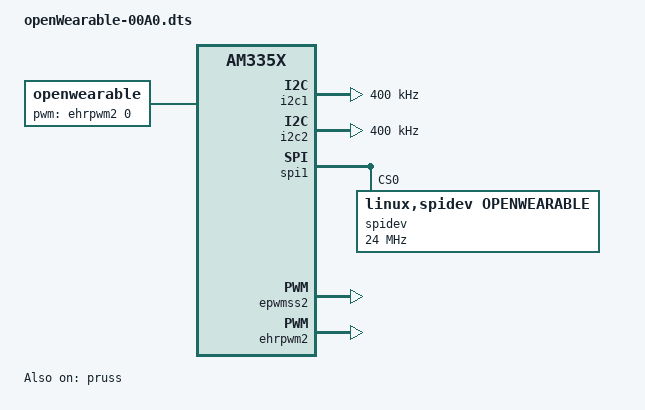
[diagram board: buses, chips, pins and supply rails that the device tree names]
/dts-v1/;
/plugin/;

/ {
  compatible = "ti,beaglebone", "ti,beaglebone-black","ti,am335x-bone-black-wireless";

  /* identification */
  part-number = "OPENWEARABLE";
  version = "00A0";

  /* state the resources this cape uses */
  exclusive-use =

    /**** pru1 GPIO pins ****/
    "P8.27",  /* pr1_pru1_pru_[r30_8 | r31_8] ---- DEBUG OUT */
    "P8.28",  /* pr1_pru1_pru_[r30_10 | r31_10] */
    "P8.29",  /* pr1_pru1_pru_[r30_9 | r31_9] */
    "P8.30",  /* pr1_pru1_pru_[r30_11 | r31_11] */
    "P8.39",  /* pr1_pru1_pru_[r30_6 | r31_6] ---- b1 */
    "P8.40",  /* pr1_pru1_pru_[r30_7 | r31_7] ---- b2 */
    "P8.41",  /* pr1_pru1_pru_[r30_4 | r31_4] */
    "P8.42",  /* pr1_pru1_pru_[r30_5 | r31_5] */
    "P8.43",  /* pr1_pru1_pru_[r30_2 | r31_2] ---- pam */
    "P8.44",  /* pr1_pru1_pru_[r30_3 | r31_3] ---- pam */
    "P8.45",  /* pr1_pru1_pru_[r30_0 | r31_0] ---- pam */
    "P8.46",  /* pr1_pru1_pru_[r30_1 | r31_1] ---- pam */

    /**** pru0 GPIO pins ****/
    "P9.27",  /* pr1_pru0_pru_[r30_5 | r31_5] ---- DEBUG OUT */

    /**** CPU GPIO pins ****/
    "P9.13", /* gpio0[31] ---- DEBUG OUT */

    /**** I2C1 pins ****/
    "P9.17",  /* I2C1_SCL */
    "P9.18",  /* I2C1_SDA */

    /**** I2C2 pins ****/
    "P9.21",  /* I2C2_SCL */
    "P9.22",  /* I2C2_SDA */

    /**** SPI1 pins ****/
    "P9.28",  /* SPI1_CS0 */
    "P9.42",  /* SPI1_CS1 */
    //"P9.19", /* SPI1_CS1 */
    //"P9.20", /* SPI1_CS0 */
    "P9.29",  /* SPI1_D0 */
    "P9.30",  /* SPI1_D1 */
    "P9.31",  /* SPI1_SCLK */

    /**** PWM pins ****/
    "P8.19",  /* ehrpwm2A */

    /* the hardware IP uses */
    "ehrpwm2A",
    "i2c1",
    "i2c2",
    "spi1",
    "pruss";

    /*----- pin mux cheat sheet -----*/
    /* Bit 6 - SLEWCTRL - 0 (fast) | 1 (slow)
     * Bit 5 - RXACTIVE - 0 (reciever disable) | 1 (reciever enable)
     * Bit 4 - PULLTYPESEL - 0 (pulldown) | 1 (pullup)
     * Bit 3 - PULLUDEN - 0 (enable) | 1 (disable)
     * Bit 2-0 - MUXMODE
     */

  /*----- pin mux -----*/
  fragment@0 {
    target = <&am33xx_pinmux>;
    __overlay__ {

      pruss_pins: pinmux_pruss_pins {
        pinctrl-single,pins = <
          0x0E0 0x05  /* P8.27 - pr1_pru1_pru_r30_8,  MODE5 | OUTPUT | PD */
          0x0E8 0x05  /* P8.28 - pr1_pru1_pru_r30_10, MODE5 | OUTPUT | PD */
          0x0E4 0x05  /* P8.29 - pr1_pru1_pru_r30_9,  MODE5 | OUTPUT | PD */
          0x0EC 0x05  /* P8.30 - pr1_pru1_pru_r30_11, MODE5 | OUTPUT | PD */
          /* 0x0B8 0x05  P8.39 - pr1_pru1_pru_r30_6,  MODE5 | OUTPUT | PD */
          0x0B8 0x26  /* P8.39 - pr1_pru1_pru_r31_6,  MODE6 | INPUT | PD */
          /* 0x0BC 0x05  P8.40 - pr1_pru1_pru_r30_7,  MODE5 | OUTPUT | PD */
          0x0BC 0x26  /* P8.40 - pr1_pru1_pru_r31_7,  MODE6 | INPUT | PD */
          0x0B0 0x05  /* P8.41 - pr1_pru1_pru_r30_4,  MODE5 | OUTPUT | PD */
          0x0B4 0x05  /* P8.42 - pr1_pru1_pru_r30_5,  MODE5 | OUTPUT | PD */
          0x0A8 0x05  /* P8.43 - pr1_pru1_pru_r30_2,  MODE5 | OUTPUT | PD */
          0x0AC 0x05  /* P8.44 - pr1_pru1_pru_r30_3,  MODE5 | OUTPUT | PD */
          0x0A0 0x05  /* P8.45 - pr1_pru1_pru_r30_0,  MODE5 | OUTPUT | PD */
          0x0A4 0x05  /* P8.46 - pr1_pru1_pru_r30_1,  MODE5 | OUTPUT | PD */
          0x1A4 0x05  /* P9.27 - pr1_pru0_pru_r30_5,  MODE5 | OUTPUT | PD */
          0x074 0x07  /* P9.13 - gpio0[31],           MODE7 | OUTPUT | PD */
        >;
      };

      spi_pins: pinmux_spi_pins {
        pinctrl-single,pins = <
          0x19C 0x13  /* P9.28 - spi1_cs0,  MODE3 | OUTPUT_PULLUP */
          0x164 0x12  /* P9.42 - spi1_cs1, MODE2 | OUTPUT_PULLUP */
          0x1A0 0x06  /* P9.42 alternate mux -- set as input */
          0x194 0x33  /* P9.29 - spi1_d0, MODE3 | INPUT_PULLUP */
          0x198 0x13  /* P9.30 - spi1_d1, MODE3 | OUTPUT_PULLUP */
          0x190 0x33  /* P9.31 - spi1_sclk, MODE3 | INPUT_PULLUP */
        >;
      };

      i2c1_pins: pinmux_i2c1_pins{
        pinctrl-single,pins = <
          0x15C 0x72  /* P9.17 - i2c1_scl, MODE2 | INPUT_PULLUP (bi-dir)*/
          0x158 0x72  /* P9.18 - i2c1_sda, MODE2 | INPUT_PULLUP (bi-dir)*/
        >;
      };

      i2c2_pins: pinmux_i2c2_pins{
        pinctrl-single,pins = <
          0x154 0x72  /* P9.21 - i2c1_scl, MODE2 | INPUT_PULLUP (bi-dir)*/
          0x150 0x72  /* P9.22 - i2c1_sda, MODE2 | INPUT_PULLUP (bi-dir)*/
        >;
      };
      pwm_pins: pinmux_pwm_pins {
        pinctrl-single,pins = <
          0x020 0x0C  /* P8.19 - ehrpwm2A, MODE4 */
        >;
      };
    };
  };

  /*----- pru enable -----*/
  fragment@1 {
    target = <&pruss>;
    __overlay__ {
      status = "okay";
      pinctrl-names = "default";
      pinctrl-0 = <&pruss_pins>;
    };
  };

  /*----- I2C1 ------*/
  fragment@2 {
    target = <&i2c1>;
    __overlay__ {
      #address-cells = <1>;
      #size-cells = <1>;
      status = "okay";
      pinctrl-names = "default";
      pinctrl-0 = <&i2c1_pins>;
      clock-frequency = <400000>;
    };
 };

  /*----- I2C2 ------*/
  fragment@3 {
    target = <&i2c2>;
    __overlay__ {
      #address-cells = <1>;
      #size-cells = <1>;
      status = "okay";
      pinctrl-names = "default";
      pinctrl-0 = <&i2c2_pins>;
      clock-frequency = <400000>;
    };
 };

  /*------ SPI settings -----*/
  fragment@4 {
    target = <&spi1>;
    __overlay__ {
      #address-cells = <1>;
      #size-cells = <0>;
      status = "okay";
      pinctrl-names = "default";
      pinctrl-0 = <&spi_pins>;
      spidev@1 {
        spi-max-frequency = <24000000>;
        reg = <0>;
        compatible = "linux,spidev,openWearable";
      };
    };
  };

  /*------ PWM enable ------*/
  fragment@5 {
    target = <&epwmss2>;
    __overlay__ {
      status = "okay";
    };
  };
  fragment@6 {
    target = <&ehrpwm2>;
    __overlay__ {
      status = "okay";
      pinctrl-names = "default";
      pinctrl-0 = <&pwm_pins>;
    };
  };
  fragment@7 {
    target = <&ocp>;
    __overlay__ {

      #address-cells = <1>;
      #size-cells = <1>;

      openwearable {
        compatible = "openwearable";
        status = "okay";

        pinctrl-names = "default";
        pinctrl-0 = <&pwm_pins>;

        pwms = <&ehrpwm2 0 500000 0>;
        pwm-names = "openwearable";

        pwm-frequency = <9250>;
        pwm-duty-cycle = <50>;

        default-brightness = <35>;

      };
    };
  };
};


